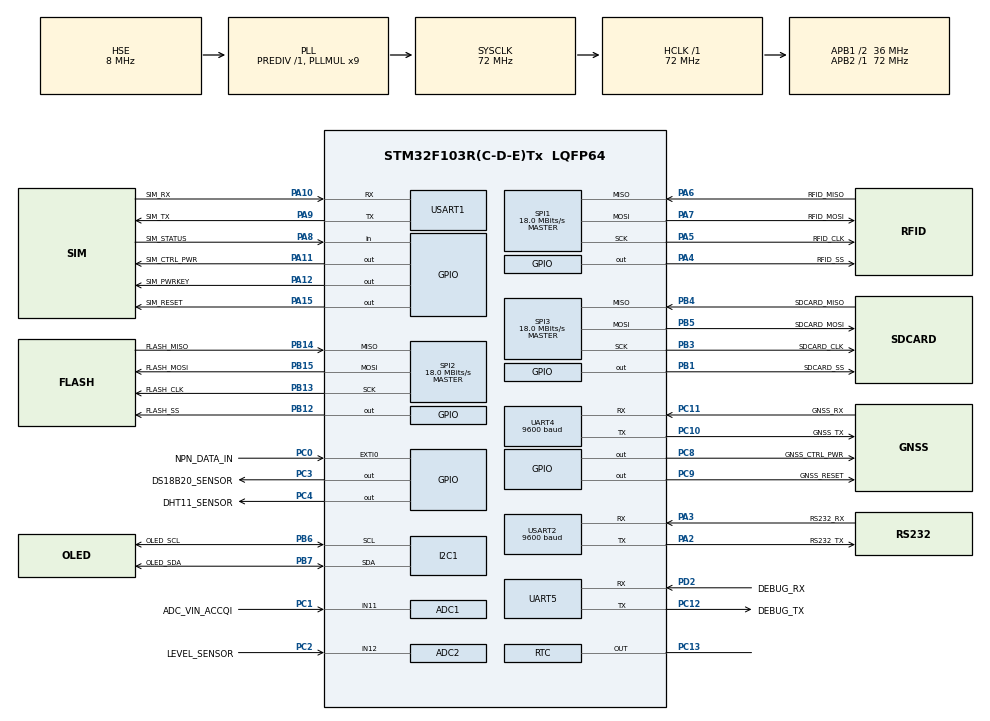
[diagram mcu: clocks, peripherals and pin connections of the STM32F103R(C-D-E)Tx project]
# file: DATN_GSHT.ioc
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ADC1.Channel-1\#ChannelRegularConversion=ADC_CHANNEL_11
ADC1.ContinuousConvMode=ENABLE
ADC1.NbrOfConversionFlag=1
ADC1.Rank-1\#ChannelRegularConversion=1
ADC1.SamplingTime-1\#ChannelRegularConversion=ADC_SAMPLETIME_28CYCLES_5
ADC1.master=1
ADC2.Channel-0\#ChannelRegularConversion=ADC_CHANNEL_12
ADC2.ContinuousConvMode=ENABLE
ADC2.NbrOfConversionFlag=1
ADC2.Rank-0\#ChannelRegularConversion=1
ADC2.SamplingTime-0\#ChannelRegularConversion=ADC_SAMPLETIME_41CYCLES_5
Mcu.Family=STM32F1
Mcu.Name=STM32F103R(C-D-E)Tx
Mcu.Package=LQFP64
NVIC.ADC1_2_IRQn=true\:0\:0\:false\:false\:true\:true\:true\:true
NVIC.EXTI0_IRQn=true\:0\:0\:false\:false\:true\:true\:true\:true
NVIC.PriorityGroup=NVIC_PRIORITYGROUP_4
NVIC.RTC_Alarm_IRQn=true\:0\:0\:false\:false\:true\:true\:true\:true
NVIC.RTC_IRQn=true\:0\:0\:false\:false\:true\:true\:true\:true
NVIC.SPI1_IRQn=true\:0\:0\:false\:false\:true\:true\:true\:true
NVIC.TIM2_IRQn=true\:0\:0\:false\:false\:true\:true\:true\:true
NVIC.TIM3_IRQn=true\:0\:0\:false\:false\:true\:true\:true\:true
PA0-WKUP.Mode=SYS_WakeUp0
PA0-WKUP.Signal=SYS_WKUP
PA10.GPIO_Label=SIM_RX
PA10.Mode=Asynchronous
PA10.Signal=USART1_RX
PA11.GPIO_Label=SIM_CTRL_PWR
PA11.Signal=GPIO_Output
PA12.GPIO_Label=SIM_PWRKEY
PA12.Signal=GPIO_Output
PA13.Mode=Serial_Wire
PA13.Signal=SYS_JTMS-SWDIO
PA14.Mode=Serial_Wire
PA14.Signal=SYS_JTCK-SWCLK
PA15.GPIO_Label=SIM_RESET
PA15.Signal=GPIO_Output
PA2.GPIO_Label=RS232_TX
PA2.Mode=Asynchronous
PA2.Signal=USART2_TX
PA3.GPIO_Label=RS232_RX
PA3.Mode=Asynchronous
PA3.Signal=USART2_RX
PA4.GPIO_Label=RFID_SS
PA4.PinState=GPIO_PIN_SET
PA4.Signal=GPIO_Output
PA5.GPIO_Label=RFID_CLK
PA5.Mode=Full_Duplex_Master
PA5.Signal=SPI1_SCK
PA6.GPIO_Label=RFID_MISO
PA6.Mode=Full_Duplex_Master
PA6.Signal=SPI1_MISO
PA7.GPIO_Label=RFID_MOSI
PA7.Mode=Full_Duplex_Master
PA7.Signal=SPI1_MOSI
PA8.GPIO_Label=SIM_STATUS
PA8.Signal=GPIO_Input
PA9.GPIO_Label=SIM_TX
PA9.Mode=Asynchronous
PA9.Signal=USART1_TX
PB1.GPIO_Label=SDCARD_SS
PB1.Signal=GPIO_Output
PB12.GPIO_Label=FLASH_SS
PB12.Signal=GPIO_Output
PB13.GPIO_Label=FLASH_CLK
PB13.Mode=Full_Duplex_Master
PB13.Signal=SPI2_SCK
PB14.GPIO_Label=FLASH_MISO
PB14.Mode=Full_Duplex_Master
PB14.Signal=SPI2_MISO
PB15.GPIO_Label=FLASH_MOSI
PB15.Mode=Full_Duplex_Master
PB15.Signal=SPI2_MOSI
PB3.GPIO_Label=SDCARD_CLK
PB3.Mode=Full_Duplex_Master
PB3.Signal=SPI3_SCK
PB4.GPIO_Label=SDCARD_MISO
PB4.Mode=Full_Duplex_Master
PB4.Signal=SPI3_MISO
PB5.GPIO_Label=SDCARD_MOSI
PB5.Mode=Full_Duplex_Master
PB5.Signal=SPI3_MOSI
PB6.GPIO_Label=OLED_SCL
PB6.Mode=I2C
PB6.Signal=I2C1_SCL
PB7.GPIO_Label=OLED_SDA
PB7.Mode=I2C
PB7.Signal=I2C1_SDA
PC0.GPIO_Label=NPN_DATA_IN
PC0.GPIO_ModeDefaultEXTI=GPIO_MODE_IT_RISING_FALLING
PC0.Signal=GPXTI0
PC1.GPIO_Label=ADC_VIN_ACCQI
PC1.Signal=ADCx_IN11
PC10.GPIO_Label=GNSS_TX
PC10.Mode=Asynchronous
PC10.Signal=UART4_TX
PC11.GPIO_Label=GNSS_RX
PC11.Mode=Asynchronous
PC11.Signal=UART4_RX
PC12.GPIO_Label=DEBUG_TX
PC12.Mode=Asynchronous
PC12.Signal=UART5_TX
PC13-TAMPER-RTC.Mode=RTC OUT
PC13-TAMPER-RTC.Signal=RTC_OUT
PC2.GPIO_Label=LEVEL_SENSOR
PC2.Signal=ADCx_IN12
PC3.GPIO_Label=DS18B20_SENSOR
PC3.Signal=GPIO_Output
PC4.GPIO_Label=DHT11_SENSOR
PC4.Signal=GPIO_Output
PC8.GPIO_Label=GNSS_CTRL_PWR
PC8.Signal=GPIO_Output
PC9.GPIO_Label=GNSS_RESET
PC9.Signal=GPIO_Output
PD0-OSC_IN.Mode=HSE-External-Oscillator
PD0-OSC_IN.Signal=RCC_OSC_IN
PD1-OSC_OUT.Mode=HSE-External-Oscillator
PD1-OSC_OUT.Signal=RCC_OSC_OUT
PD2.GPIO_Label=DEBUG_RX
PD2.Mode=Asynchronous
PD2.Signal=UART5_RX
ProjectManager.HeapSize=0x200
ProjectManager.StackSize=0x400
ProjectManager.TargetToolchain=STM32CubeIDE
RCC.ADCPresc=RCC_ADCPCLK2_DIV6
RCC.AHBFreq_Value=72000000
RCC.APB1CLKDivider=RCC_HCLK_DIV2
RCC.APB1Freq_Value=36000000
RCC.APB1TimFreq_Value=72000000
RCC.APB2Freq_Value=72000000
RCC.APB2TimFreq_Value=72000000
RCC.HCLKFreq_Value=72000000
RCC.PLLMUL=RCC_PLL_MUL9
RCC.PLLSourceVirtual=RCC_PLLSOURCE_HSE
RCC.SYSCLKFreq_VALUE=72000000
RCC.SYSCLKSource=RCC_SYSCLKSOURCE_PLLCLK
RCC.USBFreq_Value=72000000
RTC.Hours=10
RTC.Year=23
SH.ADCx_IN11.0=ADC1_IN11,IN11
SH.ADCx_IN12.0=ADC2_IN12,IN12
SPI1.BaudRatePrescaler=SPI_BAUDRATEPRESCALER_4
SPI1.CalculateBaudRate=18.0 MBits/s
SPI1.Direction=SPI_DIRECTION_2LINES
SPI1.Mode=SPI_MODE_MASTER
SPI1.VirtualType=VM_MASTER
SPI2.CalculateBaudRate=18.0 MBits/s
SPI2.Direction=SPI_DIRECTION_2LINES
SPI2.Mode=SPI_MODE_MASTER
SPI2.VirtualType=VM_MASTER
SPI3.BaudRatePrescaler=SPI_BAUDRATEPRESCALER_2
SPI3.CalculateBaudRate=18.0 MBits/s
SPI3.Direction=SPI_DIRECTION_2LINES
SPI3.Mode=SPI_MODE_MASTER
SPI3.VirtualType=VM_MASTER
TIM1.Prescaler=72-1
TIM2.Period=60000
TIM2.Prescaler=7200-1
TIM3.Period=1999
TIM3.Prescaler=7200-1
UART4.BaudRate=9600
UART4.VirtualMode=Asynchronous
UART5.VirtualMode=Asynchronous
USART1.VirtualMode=VM_ASYNC
USART2.BaudRate=9600
USART2.VirtualMode=VM_ASYNC
VP_RTC_VS_RTC_Activate.Mode=RTC_Enabled
VP_RTC_VS_RTC_Calendar.Mode=RTC_Calendar
VP_TIM1_VS_ClockSourceINT.Mode=Internal
VP_TIM2_VS_ClockSourceINT.Mode=Internal
VP_TIM3_VS_ClockSourceINT.Mode=Internal
board=custom

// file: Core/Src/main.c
/* USER CODE BEGIN Header */
/**
  ******************************************************************************
  * @file           : main.c
  * @brief          : Main program body
  ******************************************************************************
  * @attention
  *
  * Copyright (c) 2023 STMicroelectronics.
  * All rights reserved.
  *
  * This software is licensed under terms that can be found in the LICENSE file
  * in the root directory of this software component.
  * If no LICENSE file comes with this software, it is provided AS-IS.
  *
  ******************************************************************************
  SIM   ------> UART1 115200
  RS232 ------> UART2 9600
  GNSS  ------> UART4 9600
  DEBUG ------> UART5 115200

  RFID  ------> SPI1  18Mb/s
  SDCAD ------> SPI3
  FLASH ------> SPI2

  SENSOR -----> TIM1
  MOve/stop --> TIM2
  4G LTE   ---> TIM3

  */
/* USER CODE END Header */
#include "main.h"
#include "adc.h"
#include "i2c.h"
#include "rtc.h"
#include "spi.h"
#include "tim.h"
#include "usart.h"
#include "gpio.h"

/* USER CODE BEGIN Includes */
#include "sensors.h"
#include "rc522.h"
#include "debug.h"
#include  "sim4g_lte.h"

#include <stdio.h>
#include <stdint.h>
/* USER CODE END Includes */

/* USER CODE BEGIN PV */
uint8_t CardID[5];
char szBuff[20];

enum check
{
  CHANGE,
  NOT_CHANGE
};
volatile int npn_flag_check = NOT_CHANGE;
int npn_count = 0;

enum State
{
	Stop,
	Move
};

int Vehical_State;

float current_time, last_time;
float Vehical_veloc;

//RTC
RTC_TimeTypeDef sTime = {0};
RTC_DateTypeDef sDate = {0};
RTC_AlarmTypeDef sAlarm = {0};
uint8_t sencond = 0;
uint8_t minute = 0;
uint8_t hour = 0;
uint8_t date = 0;
uint8_t day = 0;
uint8_t month = 0;
uint8_t year = 0;

volatile int check =0;

char gnss_str[100]={0};
/* USER CODE END PV */

void SystemClock_Config(void);

/* USER CODE BEGIN 0 */

void check_veloc()
{
  last_time=HAL_GetTick();
}

void HAL_UART_RxCpltCallback(UART_HandleTypeDef *huart)
{
  if(huart == &huart1)
  {
    sim7672_callback();
  }
}

void HAL_GPIO_EXTI_Callback(uint16_t GPIO_Pin)
{
  //reset timer 2
  HAL_TIM_Base_Stop(&htim2);
  TIM2 -> CNT = 0;

  current_time = HAL_GetTick();

	npn_flag_check = CHANGE;
  Vehical_State = Move;
  npn_count++;
  if (npn_count==20)
  {
    float time_cycle = current_time-last_time;
    Vehical_veloc=(1.0*1000)/(time_cycle);
    //tinh toan van toc
  }
  //start timer2
  HAL_TIM_Base_Start_IT(&htim2);
}

void HAL_TIM_PeriodElapsedCallback(TIM_HandleTypeDef *htim)
{
  if(htim == &htim2)
  {
    npn_flag_check = NOT_CHANGE;
    Vehical_State = Stop;
  }
  if(htim == &htim3)
  {
    log_data("timecallback\n");
    sim7672_timerCallback();
  }
}

//RTC

void HAL_RTC_AlarmAEventCallback(RTC_HandleTypeDef *hrtc)
{
  ///HAL_GPIO_TogglePin(GPIOC, GPIO_PIN_13);
  check =1;

}
/* USER CODE END 0 */

int main(void)
{

  /* MCU Configuration--------------------------------------------------------*/

  /* Reset of all peripherals, Initializes the Flash interface and the Systick. */
  HAL_Init();

  /* Configure the system clock */
  SystemClock_Config();

  /* Initialize all configured peripherals */
  MX_GPIO_Init();
  MX_ADC1_Init();
  MX_SPI1_Init();
  MX_ADC2_Init();
  MX_TIM1_Init();
  MX_UART5_Init();
  MX_I2C1_Init();
  MX_SPI2_Init();
  MX_SPI3_Init();
  MX_UART4_Init();
  MX_USART1_UART_Init();
  MX_USART2_UART_Init();
  MX_TIM2_Init();
  MX_TIM3_Init();
  MX_RTC_Init();
  /* USER CODE BEGIN 2 */
//  HAL_TIM_Base_Start(&htim1);
  ////HAL_TIM_Base_Start_IT(&htim2);
  //HAL_TIM_Base_Start(&htim3);

//  HAL_ADC_Start(&hadc1);
//  HAL_ADC_Start(&hadc2);
//  log_data("ttesssst\n");
//  //RTC
//  rtc_init();
//    // if ( HAL_RTCEx_BKUPRead(&hrtc, RTC_BKP_DR1)!= 0x1000)
//  // {
//  //   set_time();
//  // }
//      rtc_set_time();
  // rc522_init();

  sim7672_pwrkey();
  //sim7672_init();
  /* USER CODE END 2 */

  /* Infinite loop */
  while (1)
  {

    /* USER CODE BEGIN 3 */
	    HAL_UART_Transmit(&huart4 ,(uint8_t*)"$PMTK314,0,0,0,1,0,0,0,0,0,0,0,0,0,0,0,0,0,0,0*29\r\n", strlen("$PMTK314,0,0,0,1,0,0,0,0,0,0,0,0,0,0,0,0,0,0,0*29\r\n"),1000);
	    HAL_Delay(1000);
	    HAL_UART_Receive(&huart4, (uint8_t*)gnss_str,sizeof(gnss_str)-1,2000);
	    HAL_Delay(1000);
	    log_data(gnss_str);
//    log_data("ttesssstn");
//    HAL_Delay(500);
    // HAL_Delay(100);
    // if(check)
    // {
    //   check=0;
    //   rtc_set_alarm(&sTime);
    // }
  }
  /* USER CODE END 3 */
}

void SystemClock_Config(void)
{
  RCC_OscInitTypeDef RCC_OscInitStruct = {0};
  RCC_ClkInitTypeDef RCC_ClkInitStruct = {0};
  RCC_PeriphCLKInitTypeDef PeriphClkInit = {0};

  /** Initializes the RCC Oscillators according to the specified parameters
  * in the RCC_OscInitTypeDef structure.
  */
  RCC_OscInitStruct.OscillatorType = RCC_OSCILLATORTYPE_LSI|RCC_OSCILLATORTYPE_HSE;
  RCC_OscInitStruct.HSEState = RCC_HSE_ON;
  RCC_OscInitStruct.HSEPredivValue = RCC_HSE_PREDIV_DIV1;
  RCC_OscInitStruct.HSIState = RCC_HSI_ON;
  RCC_OscInitStruct.LSIState = RCC_LSI_ON;
  RCC_OscInitStruct.PLL.PLLState = RCC_PLL_ON;
  RCC_OscInitStruct.PLL.PLLSource = RCC_PLLSOURCE_HSE;
  RCC_OscInitStruct.PLL.PLLMUL = RCC_PLL_MUL9;
  if (HAL_RCC_OscConfig(&RCC_OscInitStruct) != HAL_OK)
  {
    Error_Handler();
  }

  /** Initializes the CPU, AHB and APB buses clocks
  */
  RCC_ClkInitStruct.ClockType = RCC_CLOCKTYPE_HCLK|RCC_CLOCKTYPE_SYSCLK
                              |RCC_CLOCKTYPE_PCLK1|RCC_CLOCKTYPE_PCLK2;
  RCC_ClkInitStruct.SYSCLKSource = RCC_SYSCLKSOURCE_PLLCLK;
  RCC_ClkInitStruct.AHBCLKDivider = RCC_SYSCLK_DIV1;
  RCC_ClkInitStruct.APB1CLKDivider = RCC_HCLK_DIV2;
  RCC_ClkInitStruct.APB2CLKDivider = RCC_HCLK_DIV1;

  if (HAL_RCC_ClockConfig(&RCC_ClkInitStruct, FLASH_LATENCY_2) != HAL_OK)
  {
    Error_Handler();
  }
  PeriphClkInit.PeriphClockSelection = RCC_PERIPHCLK_RTC|RCC_PERIPHCLK_ADC;
  PeriphClkInit.RTCClockSelection = RCC_RTCCLKSOURCE_LSI;
  PeriphClkInit.AdcClockSelection = RCC_ADCPCLK2_DIV6;
  if (HAL_RCCEx_PeriphCLKConfig(&PeriphClkInit) != HAL_OK)
  {
    Error_Handler();
  }
}

void Error_Handler(void)
{
  __disable_irq();
  while (1)
  {
  }
}
